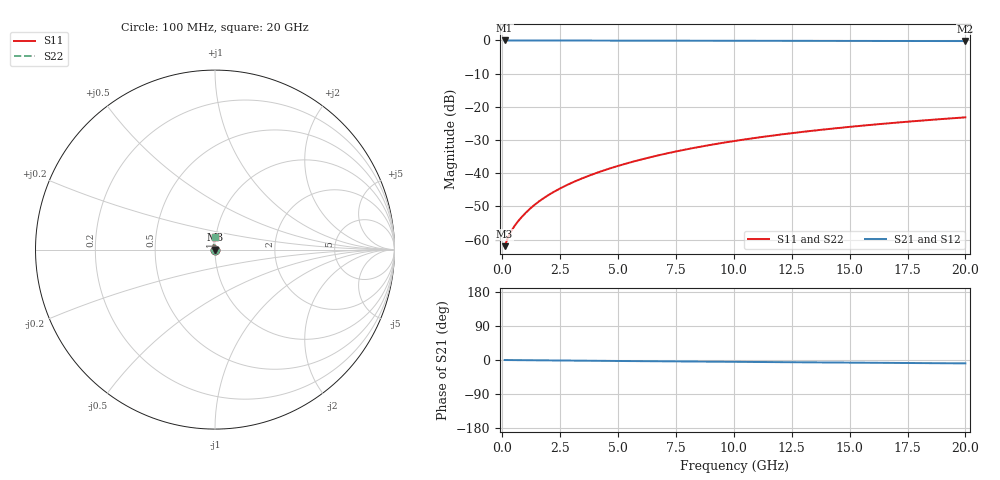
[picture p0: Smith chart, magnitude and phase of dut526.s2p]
! Touchstone file exported from HFSS 2024.1.0
!  File:  C:/UserFiles/LocalFiles/RDL_TSV_Batchsim/temp_RDL_bottom_526_1779688323.aedt
!  Generated:  01:54:25 PM May 25, 2026
!  Design:  RDL_bottom
!  Project:  temp_RDL_bottom_526_1779688323
!  Setup:  Setup1
!  Solution:  Sweep
! Variables:
!  dtsv = 10.80580581um
!  hbump = 3um
!  htsv = 74.13um
!  ldown = 132.91um
!  lrdl = 100um
!  p = 40
!  p1 = 40.91um
!  rhole = 1um
!  t = 450um
!  tdown = 3.48um
!  trdl = 3.915915916um
!  wdown = 29.08um
!  wrdl = 20um
# GHz S MA R 50.000000
! Terminal data exported
! Port[1] = RDL1_T1
! Port[2] = RDL1_T2
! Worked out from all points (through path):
!   200 points, 100 MHz to 20 GHz, reference 50 ohm
!   highest |S21| = -0.01 dB at 100 MHz (marker M1); lowest = -0.2 dB at 20 GHz (marker M2)
!   group delay of S21, straight-line fit = 1.22 ps
!   lowest |S11| = -62.0 dB at 100 MHz (marker M3), VSWR 1.00, Z = 50.1 + j0.0313 ohm
!   |S11| at or under -10 dB: start of sweep to end of sweep
!   |S22| runs from -62.0 to -23.2 dB; largest |S21 - S12| = 2e-15
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0.1  0.0007989 23.0  0.9993 -0.1  0.9993 -0.1  0.0007989 23.0
! Gamma 0 0 0 0
! Port Impedance 50 0 50 0
0.2  0.0009849 36.8  0.9992 -0.1  0.9992 -0.1  0.0009849 36.8
0.3  0.001182 44.7  0.9991 -0.2  0.9991 -0.2  0.001182 44.7
0.4  0.001371 50.4  0.9991 -0.2  0.9991 -0.2  0.001371 50.4
0.5  0.001555 54.9  0.999 -0.3  0.999 -0.3  0.001555 54.9
0.7  0.001928 62.2  0.9989 -0.4  0.9989 -0.4  0.001928 62.2
0.9  0.002317 67.7  0.9988 -0.5  0.9988 -0.5  0.002317 67.7
1.3  0.003145 75.5  0.9986 -0.7  0.9986 -0.7  0.003145 75.5
1.8  0.004253 81.8  0.9983 -1.0  0.9983 -1.0  0.004253 81.8
2.3  0.005431 86.1  0.9979 -1.2  0.9979 -1.2  0.005431 86.1
2.9  0.00693 89.7  0.9974 -1.5  0.9974 -1.5  0.00693 89.7
3.5  0.008524 92.4  0.9967 -1.8  0.9967 -1.8  0.008524 92.4
4.2  0.0105 94.7  0.9958 -2.2  0.9958 -2.2  0.0105 94.7
5  0.01291 96.4  0.9948 -2.6  0.9948 -2.6  0.01291 96.4
5.9  0.0158 97.7  0.9935 -3.0  0.9935 -3.0  0.0158 97.7
6.8  0.01884 98.4  0.9922 -3.4  0.9922 -3.4  0.01884 98.4
8.4  0.02456 98.6  0.99 -4.1  0.99 -4.1  0.02456 98.6
10.1  0.03092 98.0  0.9877 -4.9  0.9877 -4.9  0.03092 98.0
11.7  0.03707 97.1  0.9858 -5.6  0.9858 -5.6  0.03708 97.1
13.4  0.0437 96.0  0.984 -6.3  0.984 -6.3  0.0437 96.0
16.7  0.05664 93.5  0.9809 -7.6  0.9809 -7.6  0.05664 93.5
20  0.06951 91.0  0.9783 -8.9  0.9783 -8.9  0.06951 91.0
